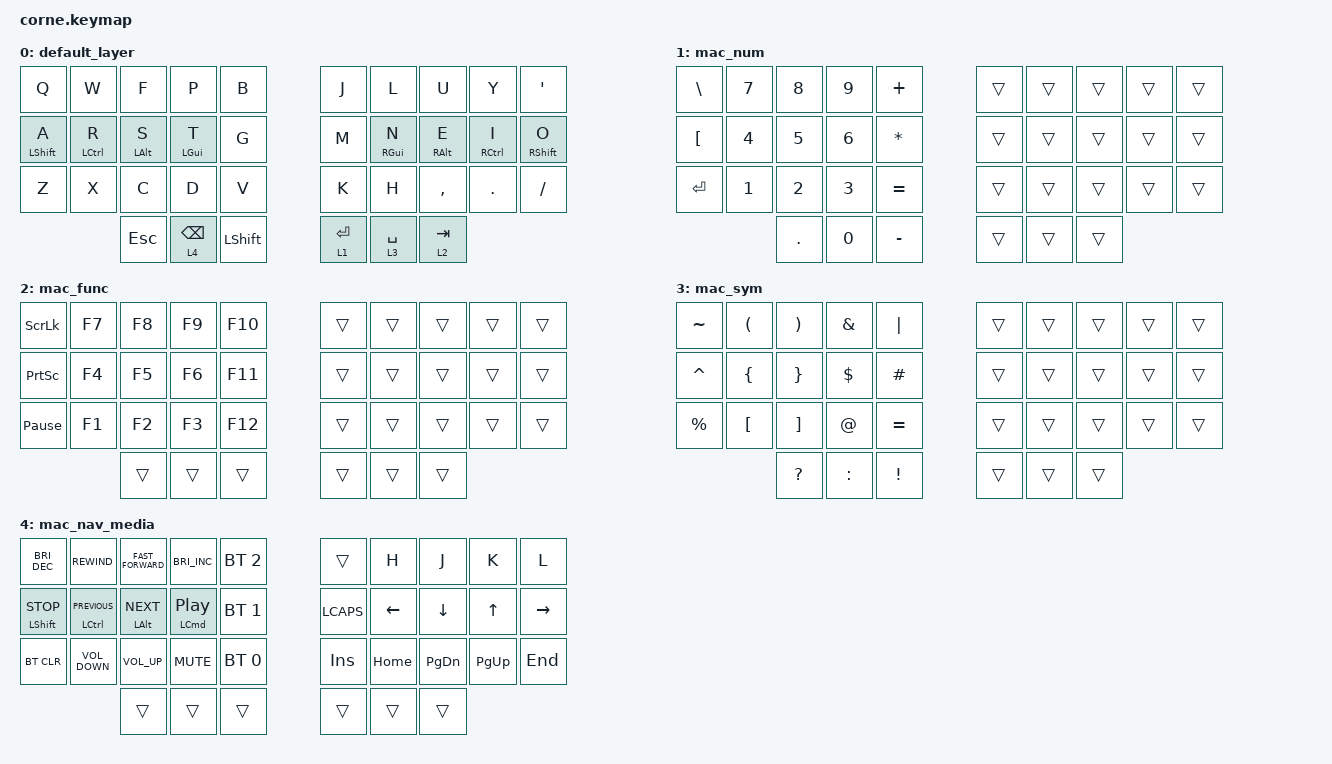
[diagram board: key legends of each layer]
/*
 * Copyright (c) 2020 The ZMK Contributors
 *
 * SPDX-License-Identifier: MIT
 */

#include <behaviors.dtsi>
#include <dt-bindings/zmk/bt.h>
#include <dt-bindings/zmk/keys.h>

&mt {
    tapping-term-ms = <250>;
    flavor = "tap-preferred";
};

&lt { quick-tap-ms = <175>; };

/ {
    chosen { zmk,matrix_transform = &five_column_transform; };

    combos {
        compatible = "zmk,combos";

        underscore {
            bindings = <&kp UNDERSCORE>;
            key-positions = <26 27>;
        };

        equal {
            bindings = <&kp EQUAL>;
            key-positions = <22 23>;
        };

        minus {
            bindings = <&kp MINUS>;
            key-positions = <3 2>;
        };

        tick {
            bindings = <&kp GRAVE>;
            key-positions = <8 7>;
        };

        semicolin {
            bindings = <&kp SEMICOLON>;
            key-positions = <27 28>;
        };

        del {
            bindings = <&kp DELETE>;
            key-positions = <26 27 28>;
        };

        toggle_num {
            bindings = <&tog 1>;
            key-positions = <33 6 7 8>;
        };

        toggle_nav {
            bindings = <&tog 4>;
            key-positions = <31 6 8 7>;
        };

        toggle_sym {
            bindings = <&tog 3>;
            key-positions = <6 7 8 34>;
        };

        toggle_fn {
            bindings = <&tog 2>;
            key-positions = <35 6 7 8>;
        };
    };

    behaviors {
        left_mod: left_mod {
            compatible = "zmk,behavior-hold-tap";
            label = "LEFT_MOD";
            bindings = <&kp>, <&kp>;

            #binding-cells = <2>;
            tapping-term-ms = <280>;
            flavor = "balanced";
            require-prior-idle-ms = <150>;
            quick-tap-ms = <175>;
            hold-trigger-key-positions = <33 5 6 7 8 9 15 16 17 18 19 25 26 27 28 29 33 34 35 30 31 32>;
            hold-trigger-on-release;
        };

        right_mod: right_mod {
            compatible = "zmk,behavior-hold-tap";
            label = "RIGHT_MOD";
            bindings = <&kp>, <&kp>;

            #binding-cells = <2>;
            tapping-term-ms = <280>;
            flavor = "balanced";
            require-prior-idle-ms = <150>;
            quick-tap-ms = <175>;
            hold-trigger-key-positions = <0 1 2 3 4 10 11 12 13 14 20 21 22 23 24 30 31 32 33 34 35>;
            hold-trigger-on-release;
        };
    };

    macros {
        win_bt: mac_bt {
            compatible = "zmk,behavior-macro";
            #binding-cells = <0>;
            bindings = <&bt BT_SEL 1 &to 0>;
            label = "MAC_BT";
        };

        linux_bt: linux_bt {
            compatible = "zmk,behavior-macro";
            #binding-cells = <0>;
            bindings = <&bt BT_SEL 2 &to 0>;
            label = "LINUX_BT";
        };

        mac_bt: mac {
            compatible = "zmk,behavior-macro";
            #binding-cells = <0>;
            bindings = <&bt BT_SEL 0 &to 0>;
            label = "MAC";
        };
    };

    keymap {
        compatible = "zmk,keymap";

        default_layer {
            bindings = <
  &kp Q                   &kp W                     &kp F                 &kp P             &kp B             &kp J        &kp L                   &kp U                   &kp Y                       &kp SQT
  &left_mod LEFT_SHIFT A  &left_mod LEFT_CONTROL R  &left_mod LEFT_ALT S  &left_mod LGUI T  &kp G             &kp M        &right_mod RIGHT_GUI N  &right_mod RIGHT_ALT E  &right_mod RIGHT_CONTROL I  &right_mod RIGHT_SHIFT O
  &kp Z                   &kp X                     &kp C                 &kp D             &kp V             &kp K        &kp H                   &kp COMMA               &kp DOT                     &kp FSLH
                                                    &kp ESCAPE            &lt 4 BACKSPACE   &kp LEFT_SHIFT    &lt 1 ENTER  &lt 3 SPACE             &lt 2 TAB
            >;
        };

        mac_num {
            bindings = <
  &kp BACKSLASH     &kp N7        &kp N8        &kp N9        &kp PLUS        &trans  &trans  &trans  &trans  &trans
  &kp LEFT_BRACKET  &kp NUMBER_4  &kp NUMBER_5  &kp NUMBER_6  &kp ASTERISK    &trans  &trans  &trans  &trans  &trans
  &kp ENTER         &kp N1        &kp N2        &kp NUMBER_3  &kp EQUAL       &trans  &trans  &trans  &trans  &trans
                                  &kp PERIOD    &kp N0        &kp MINUS       &trans  &trans  &trans
            >;
        };

        mac_func {
            bindings = <
  &kp SCROLLLOCK   &kp F7  &kp F8  &kp F9  &kp F10    &trans  &trans  &trans  &trans  &trans
  &kp PRINTSCREEN  &kp F4  &kp F5  &kp F6  &kp F11    &trans  &trans  &trans  &trans  &trans
  &kp PAUSE_BREAK  &kp F1  &kp F2  &kp F3  &kp F12    &trans  &trans  &trans  &trans  &trans
                           &trans  &trans  &trans     &trans  &trans  &trans
            >;
        };

        mac_sym {
            bindings = <
  &kp TILDE    &kp LEFT_PARENTHESIS  &kp RIGHT_PARENTHESIS  &kp AMPERSAND  &kp PIPE     &trans  &trans  &trans  &trans  &trans
  &kp CARET    &kp LEFT_BRACE        &kp RIGHT_BRACE        &kp DOLLAR     &kp HASH     &trans  &trans  &trans  &trans  &trans
  &kp PERCENT  &kp LEFT_BRACKET      &kp RIGHT_BRACKET      &kp AT         &kp EQUAL    &trans  &trans  &trans  &trans  &trans
                                     &kp QUESTION           &kp COLON      &kp EXCL     &trans  &trans  &trans
            >;
        };

        mac_nav_media {
            bindings = <
  &kp C_BRIGHTNESS_DEC         &kp C_REWIND                       &kp C_FAST_FORWARD         &kp C_BRIGHTNESS_INC                 &bt BT_SEL 2    &trans      &kp H     &kp J          &kp K        &kp L
  &left_mod LEFT_SHIFT C_STOP  &left_mod LEFT_CONTROL C_PREVIOUS  &left_mod LEFT_ALT C_NEXT  &left_mod LEFT_COMMAND C_PLAY_PAUSE  &bt BT_SEL 1    &kp LCAPS   &kp LEFT  &kp DOWN       &kp UP       &kp RIGHT
  &bt BT_CLR                   &kp C_VOLUME_DOWN                  &kp C_VOLUME_UP            &kp C_MUTE                           &bt BT_SEL 0    &kp INSERT  &kp HOME  &kp PAGE_DOWN  &kp PAGE_UP  &kp END
                                                                  &trans                     &trans                               &trans          &trans      &trans    &trans
            >;
        };
    };
};
